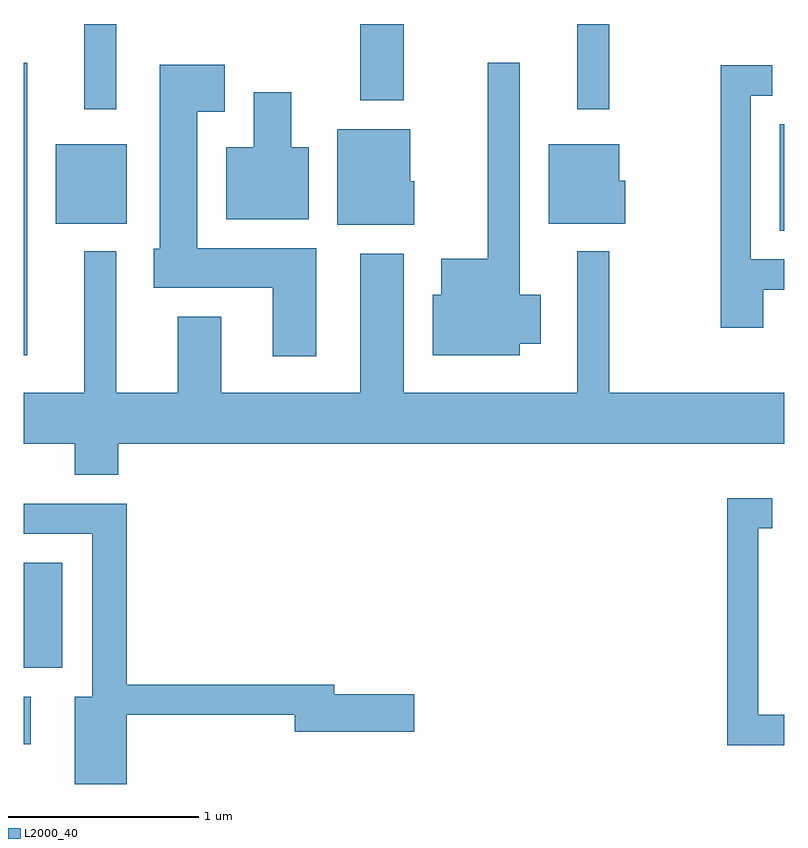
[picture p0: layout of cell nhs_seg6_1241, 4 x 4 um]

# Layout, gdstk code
import gdstk
lib = gdstk.Library(unit=1e-6, precision=1e-09)
def R(c, l, rs):  # rectangles x0, y0, x1, y1
    for r in rs: c.add(gdstk.rectangle(r[:2], r[2:], *l))
def P(c, l, *ps):  # polygons
    for p in ps: c.add(gdstk.Polygon(p, *l))
L2000_40 = (2000, 40)

nhs_seg6_1241 = lib.new_cell('nhs_seg6_1241')
R(nhs_seg6_1241, L2000_40, [(221.611,1628.376,221.649,1628.624), (221.611,1628.776,221.814,1629.329), (221.611,1630.421,221.629,1631.958), (225.586,1631.076,225.611,1631.634), (221.781,1631.111,222.154,1631.529), (221.931,1631.713,222.099,1632.162), (224.521,1631.713,224.689,1632.162), (223.381,1631.761,223.609,1632.162)])
P(nhs_seg6_1241, L2000_40, [(224.219,1630.481),(224.329,1630.481),(224.329,1630.739),(224.219,1630.739),(224.219,1631.958),(224.051,1631.958),(224.051,1630.929),(223.806,1630.929),(223.806,1630.739),(223.761,1630.739),(223.761,1630.421),(224.219,1630.421)],
  [(223.149,1630.984),(222.524,1630.984),(222.524,1631.701),(222.669,1631.701),(222.669,1631.949),(222.326,1631.949),(222.326,1630.979),(222.296,1630.979),(222.296,1630.776),(222.921,1630.776),(222.921,1630.416),(223.149,1630.416)],
  [(225.499,1630.766),(225.611,1630.766),(225.611,1630.924),(225.434,1630.924),(225.434,1631.786),(225.548,1631.786),(225.548,1631.944),(225.276,1631.944),(225.276,1630.566),(225.499,1630.566)],
  [(223.109,1631.514),(223.019,1631.514),(223.019,1631.804),(222.821,1631.804),(222.821,1631.514),(222.676,1631.514),(222.676,1631.136),(223.109,1631.136)],
  [(223.664,1631.334),(223.644,1631.334),(223.644,1631.609),(223.261,1631.609),(223.261,1631.106),(223.664,1631.106)],
  [(224.774,1631.339),(224.744,1631.339),(224.744,1631.529),(224.371,1631.529),(224.371,1631.111),(224.774,1631.111)],
  [(222.109,1629.956),(225.611,1629.956),(225.611,1630.224),(224.689,1630.224),(224.689,1630.968),(224.521,1630.968),(224.521,1630.224),(223.609,1630.224),(223.609,1630.954),(223.381,1630.954),(223.381,1630.224),(222.649,1630.224),(222.649,1630.624),(222.421,1630.624),(222.421,1630.224),(222.099,1630.224),(222.099,1630.968),(221.931,1630.968),(221.931,1630.224),(221.611,1630.224),(221.611,1629.956),(221.881,1629.956),(221.881,1629.791),(222.109,1629.791)],
  [(225.611,1628.529),(225.474,1628.529),(225.474,1629.511),(225.548,1629.511),(225.548,1629.669),(225.311,1629.669),(225.311,1628.371),(225.611,1628.371)],
  [(222.154,1628.531),(223.036,1628.531),(223.036,1628.441),(223.664,1628.441),(223.664,1628.639),(223.244,1628.639),(223.244,1628.689),(222.154,1628.689),(222.154,1629.639),(221.611,1629.639),(221.611,1629.481),(221.971,1629.481),(221.971,1628.624),(221.881,1628.624),(221.881,1628.166),(222.154,1628.166)])

lib.write_gds('nhs_seg6_1241.gds')
